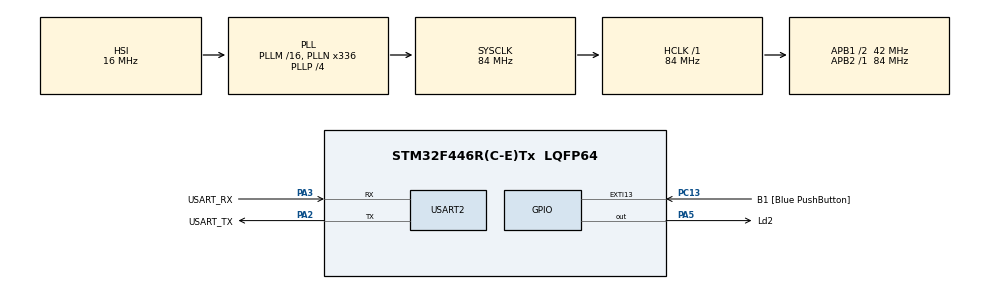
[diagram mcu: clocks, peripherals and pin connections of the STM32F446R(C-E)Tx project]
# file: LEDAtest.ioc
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Mcu.Family=STM32F4
Mcu.Name=STM32F446R(C-E)Tx
Mcu.Package=LQFP64
NVIC.PriorityGroup=NVIC_PRIORITYGROUP_0
PA13.GPIO_Label=TMS
PA13.Mode=Serial_Wire
PA13.Signal=SYS_JTMS-SWDIO
PA14.GPIO_Label=TCK
PA14.Mode=Serial_Wire
PA14.Signal=SYS_JTCK-SWCLK
PA2.GPIO_Label=USART_TX
PA2.Mode=Asynchronous
PA2.Signal=USART2_TX
PA3.GPIO_Label=USART_RX
PA3.Mode=Asynchronous
PA3.Signal=USART2_RX
PA5.GPIO_Label=Ld2
PA5.Signal=GPIO_Output
PB3.GPIO_Label=SWO
PB3.Signal=SYS_JTDO-SWO
PC13.GPIO_Label=B1 [Blue PushButton]
PC13.GPIO_ModeDefaultEXTI=GPIO_MODE_IT_FALLING
PC13.Signal=GPXTI13
PC14-OSC32_IN.Mode=LSE-External-Oscillator
PC14-OSC32_IN.Signal=RCC_OSC32_IN
PC15-OSC32_OUT.Mode=LSE-External-Oscillator
PC15-OSC32_OUT.Signal=RCC_OSC32_OUT
PH0-OSC_IN.Mode=HSE-External-Oscillator
PH0-OSC_IN.Signal=RCC_OSC_IN
PH1-OSC_OUT.Mode=HSE-External-Oscillator
PH1-OSC_OUT.Signal=RCC_OSC_OUT
ProjectManager.HeapSize=0x200
ProjectManager.StackSize=0x400
ProjectManager.TargetToolchain=Makefile
RCC.48MHZClocksFreq_Value=84000000
RCC.AHBFreq_Value=84000000
RCC.APB1CLKDivider=RCC_HCLK_DIV2
RCC.APB1Freq_Value=42000000
RCC.APB1TimFreq_Value=84000000
RCC.APB2Freq_Value=84000000
RCC.APB2TimFreq_Value=84000000
RCC.CortexFreq_Value=84000000
RCC.FLatency-AdvancedSettings=FLASH_LATENCY_2
RCC.HCLKFreq_Value=84000000
RCC.HSE_VALUE=8000000
RCC.HSI_VALUE=16000000
RCC.PLLN=336
RCC.PLLP=RCC_PLLP_DIV4
RCC.SYSCLKFreq_VALUE=84000000
RCC.SYSCLKSource=RCC_SYSCLKSOURCE_PLLCLK
RCC.USBFreq_Value=168000000
RCC.VCOOutputFreq_Value=336000000
USART2.VirtualMode=VM_ASYNC
board=NUCLEO-F446RE

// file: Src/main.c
/* USER CODE BEGIN Header */
/**
  ******************************************************************************
  * @file           : main.c
  * @brief          : Main program body
  ******************************************************************************
  * @attention
  *
  * <h2><center>&copy; Copyright (c) 2019 STMicroelectronics.
  * All rights reserved.</center></h2>
  *
  * This software component is licensed by ST under BSD 3-Clause license,
  * the "License"; You may not use this file except in compliance with the
  * License. You may obtain a copy of the License at:
  *                        opensource.org/licenses/BSD-3-Clause
  *
  ******************************************************************************
  */
/* USER CODE END Header */

#include "main.h"
#include "usart.h"
#include "gpio.h"

/* USER CODE BEGIN Includes */
#include <string.h>
#include <time.h>
#include <stdlib.h>
#include <stdio.h>
#include "api.h"
/* USER CODE END Includes */

void SystemClock_Config(void);

/* USER CODE BEGIN 0 */
void Delay(__IO uint32_t nCount)
{
    while (nCount--);
}

// print array of bytes in hex
void printBytes(unsigned char *data, int length) {
    char buffer[16];
    int i;
    for (i = 0; i < length; ++i) {
        HAL_UART_Transmit(&huart2, (uint8_t*)buffer, sprintf(buffer, "%02X", data[i]), 0xFFFFFF);
    }
}

// print array of bytes in a KAT-compliant way
// more complicated than expected: leading zeros are placed differently in PK and CT based on values of CATEGORY and N0
// NOT USED ANYMORE, SERIALIZATION IS INSIDE kem.c - this code is here for future reference
/*
#if N0 == 2
void printPk(unsigned char *data, int length) {
    char zeros[9] = "00000000";
    char buffer[16];

    for (int i = 0; i < 4; ++i) {
        HAL_UART_Transmit(&huart2, (uint8_t*)buffer, sprintf(buffer, "%02X", data[i]), 0xFFFFFF);
    }
    HAL_UART_Transmit(&huart2, zeros, 8, 0xFFFFFF);

    int swap = 0;
    int i = 8;
    while (i < length) {
        for (int j = 0; j < 4; ++j) {
            HAL_UART_Transmit(&huart2, (uint8_t*)buffer, sprintf(buffer, "%02X", data[i+j]), 0xFFFFFF);
        }

        if (swap) {
            i += 12;
            swap = 0;
        } else {
            i -= 4;
            swap = 1;
        }
    }
}

void printCt(unsigned char *data, int length) {
    printPk(data, length);
}
#elif (N0 == 3) && ((CATEGORY == 1) || (CATEGORY == 2) || (CATEGORY == 3))
void printPk(unsigned char *data, int length) {
    char zeros[9] = "00000000";
    char buffer[16];

    for (int i = 0; i < 4; ++i) {
        HAL_UART_Transmit(&huart2, (uint8_t*)buffer, sprintf(buffer, "%02X", data[i]), 0xFFFFFF);
    }
    HAL_UART_Transmit(&huart2, zeros, 8, 0xFFFFFF);

    int swap = 0;
    int i = 8;
    while (i < length/2) {
        for (int j = 0; j < 4; ++j) {
            HAL_UART_Transmit(&huart2, (uint8_t*)buffer, sprintf(buffer, "%02X", data[i+j]), 0xFFFFFF);
        }

        if (swap) {
            i += 12;
            swap = 0;
        } else {
            i -= 4;
            swap = 1;
        }
    }

    for (int j = 0; j < 4; ++j) {
        HAL_UART_Transmit(&huart2, (uint8_t*)buffer, sprintf(buffer, "%02X", data[i-4+j]), 0xFFFFFF);
    }
    HAL_UART_Transmit(&huart2, zeros, 8, 0xFFFFFF);

    swap = 0;
    i += 4;
    while (i < length) {
        for (int j = 0; j < 4; ++j) {
            HAL_UART_Transmit(&huart2, (uint8_t*)buffer, sprintf(buffer, "%02X", data[i+j]), 0xFFFFFF);
        }

        if (swap) {
            i += 12;
            swap = 0;
        } else {
            i -= 4;
            swap = 1;
        }
    }
}

void printCt(unsigned char *data, int length) {
    char zeros[9] = "00000000";
    char buffer[16];

    for (int i = 0; i < 4; ++i) {
        HAL_UART_Transmit(&huart2, (uint8_t*)buffer, sprintf(buffer, "%02X", data[i]), 0xFFFFFF);
    }
    HAL_UART_Transmit(&huart2, zeros, 8, 0xFFFFFF);

    int swap = 0;
    int i = 8;
    while (i < length) {
        for (int j = 0; j < 4; ++j) {
            HAL_UART_Transmit(&huart2, (uint8_t*)buffer, sprintf(buffer, "%02X", data[i+j]), 0xFFFFFF);
        }

        if (swap) {
            i += 12;
            swap = 0;
        } else {
            i -= 4;
            swap = 1;
        }
    }
}
#elif ((N0 == 3) && ((CATEGORY == 4) || (CATEGORY == 5))) || ((N0 == 4) && ((CATEGORY == 1) || (CATEGORY == 4) || (CATEGORY == 5)))
void printPk(unsigned char *data, int length) {
    int swap = 0;
    int i = 4;
    while (i < length) {
        for (int j = 0; j < 4; ++j) {
            HAL_UART_Transmit(&huart2, (uint8_t*)buffer, sprintf(buffer, "%02X", data[i+j]), 0xFFFFFF);
        }

        if (swap) {
            i += 12;
            swap = 0;
        } else {
            i -= 4;
            swap = 1;
        }
    }
}

void printCt(unsigned char *data, int length) {
    printPk(data, length);
}
#elif (N0 == 4) && ((CATEGORY == 2) || (CATEGORY == 3))
void printPk(unsigned char *data, int length) {
    char zeros[9] = "00000000";
    char buffer[16];

    for (int i = 0; i < 4; ++i) {
        HAL_UART_Transmit(&huart2, (uint8_t*)buffer, sprintf(buffer, "%02X", data[i]), 0xFFFFFF);
    }
    HAL_UART_Transmit(&huart2, zeros, 8, 0xFFFFFF);

    int swap = 0;
    int i = 8;
    while (i <= length/3) {
        for (int j = 0; j < 4; ++j) {
            HAL_UART_Transmit(&huart2, (uint8_t*)buffer, sprintf(buffer, "%02X", data[i+j]), 0xFFFFFF);
        }

        if (swap) {
            i += 12;
            swap = 0;
        } else {
            i -= 4;
            swap = 1;
        }
    }

    for (int j = 0; j < 4; ++j) {
        HAL_UART_Transmit(&huart2, (uint8_t*)buffer, sprintf(buffer, "%02X", data[i-4+j]), 0xFFFFFF);
    }
    HAL_UART_Transmit(&huart2, zeros, 8, 0xFFFFFF);

    swap = 0;
    i += 4;
    while (i < 2*length/3) {
        for (int j = 0; j < 4; ++j) {
            HAL_UART_Transmit(&huart2, (uint8_t*)buffer, sprintf(buffer, "%02X", data[i+j]), 0xFFFFFF);
        }

        if (swap) {
            i += 12;
            swap = 0;
        } else {
            i -= 4;
            swap = 1;
        }
    }

    for (int j = 0; j < 4; ++j) {
        HAL_UART_Transmit(&huart2, (uint8_t*)buffer, sprintf(buffer, "%02X", data[i-4+j]), 0xFFFFFF);
    }
    HAL_UART_Transmit(&huart2, zeros, 8, 0xFFFFFF);

    swap = 0;
    i += 4;
    while (i < length) {
        for (int j = 0; j < 4; ++j) {
            HAL_UART_Transmit(&huart2, (uint8_t*)buffer, sprintf(buffer, "%02X", data[i+j]), 0xFFFFFF);
        }

        if (swap) {
            i += 12;
            swap = 0;
        } else {
            i -= 4;
            swap = 1;
        }
    }
}

void printCt(unsigned char *data, int length) {
    char zeros[9] = "00000000";
    char buffer[16];

    for (int i = 0; i < 4; ++i) {
        HAL_UART_Transmit(&huart2, (uint8_t*)buffer, sprintf(buffer, "%02X", data[i]), 0xFFFFFF);
    }
    HAL_UART_Transmit(&huart2, zeros, 8, 0xFFFFFF);

    int swap = 0;
    int i = 8;
    while (i < length) {
        for (int j = 0; j < 4; ++j) {
            HAL_UART_Transmit(&huart2, (uint8_t*)buffer, sprintf(buffer, "%02X", data[i+j]), 0xFFFFFF);
        }

        if (swap) {
            i += 12;
            swap = 0;
        } else {
            i -= 4;
            swap = 1;
        }
    }
}
#else
#error Unsupported values for CATEGORY and N0
#endif
*/
/* USER CODE END 0 */

int main(void)
{

  /* MCU Configuration--------------------------------------------------------*/

  /* Reset of all peripherals, Initializes the Flash interface and the Systick. */
  HAL_Init();

  /* Configure the system clock */
  SystemClock_Config();

  /* Initialize all configured peripherals */
  MX_GPIO_Init();
  MX_USART2_UART_Init();
  /* USER CODE BEGIN 2 */

  char *test = "\n\r# LEDA";
  HAL_UART_Transmit(&huart2, (uint8_t*)test, strlen(test), 0xFFFFFF);

  char *NEWLINE = "\n\r";
  char *COUNT = "\n\rcount = ";
  char *SEED = "\n\rseed = ";
  char *PK = "\n\rpk = ";
  char *SK = "\n\rsk = ";
  char *CT = "\n\rct = ";
  char *SS = "\n\rss = ";
  char *ERR_DEC = "\n\rError in dec";
  int count = 0;
  int ans;

  unsigned char msg[CRYPTO_CIPHERTEXTBYTES];
  unsigned char pk[CRYPTO_PUBLICKEYBYTES];
  unsigned char sk[CRYPTO_SECRETKEYBYTES];
  unsigned char ss[CRYPTO_BYTES];
  /* USER CODE END 2 */

  /* Infinite loop */
  while (1)
  {

    // count
    HAL_UART_Transmit(&huart2, (uint8_t*)COUNT, strlen(COUNT), 0xFFFFFF);
    char number[10];
    itoa(count, number, 10);
    number[strlen(number)] = 0;
    HAL_UART_Transmit(&huart2, (uint8_t*)number, strlen(number), 0xFFFFFF);

    // seed
    unsigned char entropy_string[96];
    HAL_UART_Receive(&huart2, (uint8_t*)entropy_string, 96, 0xFFFFFF);

    unsigned char entropy[48];
    unsigned char *tmp = entropy_string;
    for (size_t i = 0; i < 48; i++) {
      char high = entropy_string[i*2];
      char low = entropy_string[i*2 + 1];
      entropy[i] = 0;

      if (high >= '0' && high <= '9') {
          entropy[i] = (high - '0') << 4;
      } else if (high >= 'A' && high <= 'F') {
          entropy[i] = (high - 'A' + 10) << 4;
      } else if (high >= 'a' && high <= 'f') {
          entropy[i] = (high - 'a' + 10) << 4;
      }

      if (low >= '0' && low <= '9') {
          entropy[i] |= low - '0';
      } else if (low >= 'A' && low <= 'F') {
          entropy[i] |= low - 'A' + 10;
      } else if (low >= 'a' && low <= 'f') {
          entropy[i] |= low - 'a' + 10;
      }
    }
    randombytes_init(entropy, NULL, 1);
    HAL_UART_Transmit(&huart2, (uint8_t*)SEED, strlen(SEED), 0xFFFFFF);
    printBytes(entropy, 48);

    // pk and sk
    ans = crypto_kem_keypair(pk, sk);

    HAL_UART_Transmit(&huart2, (uint8_t*)PK, strlen(PK), 0xFFFFFF);
    convert_array_32_to_64(pk, CRYPTO_PUBLICKEYBYTES);
    printBytes(pk, CRYPTO_PUBLICKEYBYTES);
    convert_array_64_to_32(pk, CRYPTO_PUBLICKEYBYTES);

    HAL_UART_Transmit(&huart2, (uint8_t*)SK, strlen(SK), 0xFFFFFF);
    printBytes(sk, CRYPTO_SECRETKEYBYTES);

    // ct and ss
    ans = crypto_kem_enc(msg, ss, pk);

    HAL_UART_Transmit(&huart2, (uint8_t*)CT, strlen(CT), 0xFFFFFF);
    convert_array_32_to_64(msg, CRYPTO_CIPHERTEXTBYTES);
    printBytes(msg, CRYPTO_CIPHERTEXTBYTES);
    convert_array_64_to_32(msg, CRYPTO_CIPHERTEXTBYTES);

    HAL_UART_Transmit(&huart2, (uint8_t*)SS, strlen(SS), 0xFFFFFF);
    printBytes(ss, CRYPTO_BYTES);

    // decryption testing
    ans = crypto_kem_dec(ss, msg, sk);
    if (ans != 0) HAL_UART_Transmit(&huart2, (uint8_t*)ERR_DEC, strlen(ERR_DEC), 0xFFFFFF);
    //HAL_UART_Transmit(&huart2, (uint8_t*)SS, strlen(SS), 0xFFFFFF);
    //printBytes(ss, CRYPTO_BYTES);

    // newline
    HAL_UART_Transmit(&huart2, (uint8_t*)NEWLINE, strlen(NEWLINE), 0xFFFFFF);

    HAL_GPIO_TogglePin(Ld2_GPIO_Port,Ld2_Pin); // Toggle LED
    HAL_Delay(1000); // Delay 1 Seconds
    ++count;
  }
}

void SystemClock_Config(void)
{
  RCC_OscInitTypeDef RCC_OscInitStruct = {0};
  RCC_ClkInitTypeDef RCC_ClkInitStruct = {0};

  /** Configure the main internal regulator output voltage
  */
  __HAL_RCC_PWR_CLK_ENABLE();
  __HAL_PWR_VOLTAGESCALING_CONFIG(PWR_REGULATOR_VOLTAGE_SCALE3);
  /** Initializes the CPU, AHB and APB busses clocks
  */
  RCC_OscInitStruct.OscillatorType = RCC_OSCILLATORTYPE_HSI;
  RCC_OscInitStruct.HSIState = RCC_HSI_ON;
  RCC_OscInitStruct.HSICalibrationValue = RCC_HSICALIBRATION_DEFAULT;
  RCC_OscInitStruct.PLL.PLLState = RCC_PLL_ON;
  RCC_OscInitStruct.PLL.PLLSource = RCC_PLLSOURCE_HSI;
  RCC_OscInitStruct.PLL.PLLM = 16;
  RCC_OscInitStruct.PLL.PLLN = 336;
  RCC_OscInitStruct.PLL.PLLP = RCC_PLLP_DIV4;
  RCC_OscInitStruct.PLL.PLLQ = 2;
  RCC_OscInitStruct.PLL.PLLR = 2;
  if (HAL_RCC_OscConfig(&RCC_OscInitStruct) != HAL_OK)
  {
    Error_Handler();
  }
  /** Initializes the CPU, AHB and APB busses clocks
  */
  RCC_ClkInitStruct.ClockType = RCC_CLOCKTYPE_HCLK|RCC_CLOCKTYPE_SYSCLK
                              |RCC_CLOCKTYPE_PCLK1|RCC_CLOCKTYPE_PCLK2;
  RCC_ClkInitStruct.SYSCLKSource = RCC_SYSCLKSOURCE_PLLCLK;
  RCC_ClkInitStruct.AHBCLKDivider = RCC_SYSCLK_DIV1;
  RCC_ClkInitStruct.APB1CLKDivider = RCC_HCLK_DIV2;
  RCC_ClkInitStruct.APB2CLKDivider = RCC_HCLK_DIV1;

  if (HAL_RCC_ClockConfig(&RCC_ClkInitStruct, FLASH_LATENCY_2) != HAL_OK)
  {
    Error_Handler();
  }
}

void Error_Handler(void)
{
}

/************************ (C) COPYRIGHT STMicroelectronics *****END OF FILE****/
